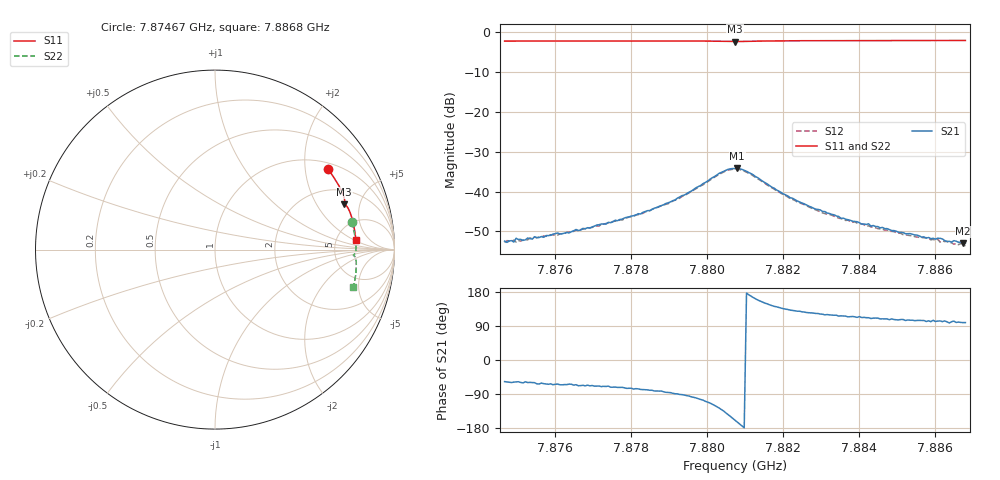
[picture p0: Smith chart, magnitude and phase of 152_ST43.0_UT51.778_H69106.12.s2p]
#  HZ  S  DB  R  50.00
! Rohde & Schwarz Vector Network Analyzer
! Rohde-Schwarz,ZNB20-2Port,1311601062101988,3.16
! Created: UTC 1/12/2023, 6:40:36 PM
! freq[Hz]  db:S11  ang:S11  db:S21  ang:S21  db:S12  ang:S12  db:S22  ang:S22
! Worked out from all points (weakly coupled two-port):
!   201 points, 7.87467 GHz to 7.8868 GHz, reference 50 ohm
!   highest |S21| = -34.19 dB at 7.88079 GHz (marker M1); lowest = -53.0 dB at 7.88674 GHz (marker M2)
!   lowest |S11| = -2.4 dB at 7.88073 GHz (marker M3), VSWR 7.43, Z = 147 + j178 ohm
!   |S11| at or under -10 dB: nowhere
!   |S22| runs from -2.3 to -1.9 dB; largest |S21 - S12| = 0.0012
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7.874669e9  -2.25 35.3  -52.43 -57.0  -52.78 -61.0  -2.20 11.4
7.874911e9  -2.24 34.7  -52.67 -58.3  -52.18 -63.5  -2.19 10.7
7.874972e9  -2.24 34.5  -51.73 -57.9  -52.67 -62.0  -2.19 10.6
7.875154e9  -2.24 34.0  -52.24 -60.5  -52.17 -64.0  -2.18 10.2
7.8757e9  -2.22 32.5  -51.47 -62.5  -51.14 -64.3  -2.16 8.9
7.876731e9  -2.21 29.7  -49.23 -66.7  -49.44 -69.8  -2.13 6.5
7.877762e9  -2.19 26.9  -46.93 -72.2  -47.14 -76.2  -2.11 4.0
7.878733e9  -2.19 24.2  -43.73 -82.1  -43.84 -85.5  -2.10 1.7
7.8794e9  -2.20 22.3  -40.88 -92.4  -40.97 -96.3  -2.11 0.1
7.88031e9  -2.30 19.8  -35.47 -126.3  -35.72 -129.7  -2.20 -2.0
7.880734e9  -2.35 19.3  -34.25 -159.0  -34.34 -162.3  -2.25 -2.4
7.880795e9  -2.35 19.3  -34.19 -164.3  -34.41 -167.6  -2.26 -2.4
7.881159e9  -2.29 18.8  -35.50 168.5  -35.71 165.1  -2.19 -2.6
7.88219e9  -2.17 16.0  -41.56 131.6  -41.76 129.1  -2.05 -4.9
7.882796e9  -2.14 14.4  -44.17 123.9  -44.37 120.3  -2.02 -6.3
7.883524e9  -2.13 12.4  -46.70 116.5  -46.78 113.7  -2.01 -8.0
7.884798e9  -2.11 9.0  -49.55 106.4  -49.96 104.4  -1.97 -10.9
7.885768e9  -2.09 6.4  -51.69 101.5  -51.56 100.6  -1.96 -13.0
7.886072e9  -2.09 5.7  -51.71 102.7  -51.96 99.2  -1.96 -13.7
7.886132e9  -2.09 5.5  -51.74 103.1  -52.68 96.4  -1.96 -13.7
7.886739e9  -2.08 4.0  -52.99 98.7  -53.11 94.9  -1.95 -15.1
7.8868e9  -2.08 3.7  -52.89 98.8  -53.70 95.4  -1.96 -15.2
